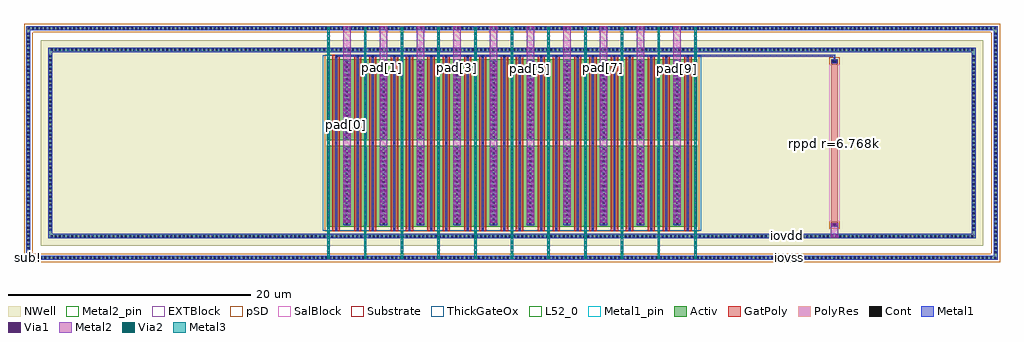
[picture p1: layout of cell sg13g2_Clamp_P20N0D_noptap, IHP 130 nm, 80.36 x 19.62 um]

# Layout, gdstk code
import gdstk
lib = gdstk.Library(unit=1e-6, precision=5e-09)
def R(c, l, rs):  # rectangles x0, y0, x1, y1
    for r in rs: c.add(gdstk.rectangle(r[:2], r[2:], *l))
def A(c, l, x, y, w, h, nx, ny, dx, dy):  # array of equal rectangles
    R(c, l, [(x+i*dx, y+j*dy, x+i*dx+w, y+j*dy+h) for i in range(nx) for j in range(ny)])
def P(c, l, *ps):  # polygons
    for p in ps: c.add(gdstk.Polygon(p, *l))
Activ = (1, 0)
GatPoly = (5, 0)
Cont = (6, 0)
Metal1 = (8, 0)
Metal1_pin = (8, 2)
Metal2 = (10, 0)
Metal2_pin = (10, 2)
pSD = (14, 0)
Via1 = (19, 0)
SalBlock = (28, 0)
Via2 = (29, 0)
Metal3 = (30, 0)
NWell = (31, 0)
Substrate = (40, 0)
ThickGateOx = (44, 0)
L52_0 = (52, 0)
EXTBlock = (111, 0)
PolyRes = (128, 0)

sg13g2_clamp_p20n0d_nopt = lib.new_cell('sg13g2_Clamp_P20N0D_noptap')
R(sg13g2_clamp_p20n0d_nopt, Activ, [(24.75,2.75,55.25,9.41), (24.75,9.85,55.25,16.51)])
P(sg13g2_clamp_p20n0d_nopt, Activ, [(1.8,1.8),(1.8,17.12),(2.14,17.12),(2.14,2.14),(77.86,2.14),(77.86,17.12),(1.8,17.12),(1.8,17.46),(78.2,17.46),(78.2,1.8)],
  [(0,0),(0,18.92),(0.34,18.92),(0.34,0.34),(79.66,0.34),(79.66,18.92),(0,18.92),(0,19.26),(80,19.26),(80,0)])
R(sg13g2_clamp_p20n0d_nopt, GatPoly, [(25.22,2.38,25.82,16.88), (27,2.38,27.6,16.88), (28.24,2.38,28.84,16.88), (30.02,2.38,30.62,16.88), (31.26,2.38,31.86,16.88), (33.04,2.38,33.64,16.88), (34.28,2.38,34.88,16.88), (36.06,2.38,36.66,16.88), (37.3,2.38,37.9,16.88), (39.08,2.38,39.68,16.88), (40.32,2.38,40.92,16.88), (42.1,2.38,42.7,16.88), (43.34,2.38,43.94,16.88), (45.12,2.38,45.72,16.88), (46.36,2.38,46.96,16.88), (48.14,2.38,48.74,16.88), (49.38,2.38,49.98,16.88), (51.16,2.38,51.76,16.88), (52.4,2.38,53,16.88), (54.18,2.38,54.78,16.88), (66.305,2.75,66.805,2.98), (66.305,2.98,66.805,3.18), (66.305,16.08,66.805,16.28), (66.305,16.28,66.805,16.51)])
A(sg13g2_clamp_p20n0d_nopt, Cont, 0.14, 0.09, 0.16, 0.16, 235, 2, 0.34, 18.92)
A(sg13g2_clamp_p20n0d_nopt, Cont, 0.09, 0.54, 0.16, 0.16, 1, 54, 0, 0.34)
A(sg13g2_clamp_p20n0d_nopt, Cont, 79.75, 0.54, 0.16, 0.16, 1, 54, 0, 0.34)
A(sg13g2_clamp_p20n0d_nopt, Cont, 2.01, 1.89, 0.16, 0.16, 224, 2, 0.34, 15.32)
A(sg13g2_clamp_p20n0d_nopt, Cont, 1.89, 2.41, 0.16, 0.16, 1, 43, 0, 0.34)
A(sg13g2_clamp_p20n0d_nopt, Cont, 77.95, 2.41, 0.16, 0.16, 1, 43, 0, 0.34)
A(sg13g2_clamp_p20n0d_nopt, Cont, 25.44, 2.45, 0.16, 0.16, 1, 3, 0, 7.1)
A(sg13g2_clamp_p20n0d_nopt, Cont, 27.22, 2.45, 0.16, 0.16, 1, 3, 0, 7.1)
A(sg13g2_clamp_p20n0d_nopt, Cont, 28.46, 2.45, 0.16, 0.16, 1, 3, 0, 7.1)
A(sg13g2_clamp_p20n0d_nopt, Cont, 30.24, 2.45, 0.16, 0.16, 1, 3, 0, 7.1)
A(sg13g2_clamp_p20n0d_nopt, Cont, 31.48, 2.45, 0.16, 0.16, 1, 3, 0, 7.1)
A(sg13g2_clamp_p20n0d_nopt, Cont, 33.26, 2.45, 0.16, 0.16, 1, 3, 0, 7.1)
A(sg13g2_clamp_p20n0d_nopt, Cont, 34.5, 2.45, 0.16, 0.16, 1, 3, 0, 7.1)
A(sg13g2_clamp_p20n0d_nopt, Cont, 36.28, 2.45, 0.16, 0.16, 1, 3, 0, 7.1)
A(sg13g2_clamp_p20n0d_nopt, Cont, 37.52, 2.45, 0.16, 0.16, 1, 3, 0, 7.1)
A(sg13g2_clamp_p20n0d_nopt, Cont, 39.3, 2.45, 0.16, 0.16, 1, 3, 0, 7.1)
A(sg13g2_clamp_p20n0d_nopt, Cont, 40.54, 2.45, 0.16, 0.16, 1, 3, 0, 7.1)
A(sg13g2_clamp_p20n0d_nopt, Cont, 42.32, 2.45, 0.16, 0.16, 1, 3, 0, 7.1)
A(sg13g2_clamp_p20n0d_nopt, Cont, 43.56, 2.45, 0.16, 0.16, 1, 3, 0, 7.1)
A(sg13g2_clamp_p20n0d_nopt, Cont, 45.34, 2.45, 0.16, 0.16, 1, 3, 0, 7.1)
A(sg13g2_clamp_p20n0d_nopt, Cont, 46.58, 2.45, 0.16, 0.16, 1, 3, 0, 7.1)
A(sg13g2_clamp_p20n0d_nopt, Cont, 48.36, 2.45, 0.16, 0.16, 1, 3, 0, 7.1)
A(sg13g2_clamp_p20n0d_nopt, Cont, 49.6, 2.45, 0.16, 0.16, 1, 3, 0, 7.1)
A(sg13g2_clamp_p20n0d_nopt, Cont, 51.38, 2.45, 0.16, 0.16, 1, 3, 0, 7.1)
A(sg13g2_clamp_p20n0d_nopt, Cont, 52.62, 2.45, 0.16, 0.16, 1, 3, 0, 7.1)
A(sg13g2_clamp_p20n0d_nopt, Cont, 54.4, 2.45, 0.16, 0.16, 1, 3, 0, 7.1)
A(sg13g2_clamp_p20n0d_nopt, Cont, 24.82, 2.94, 0.16, 0.16, 21, 19, 1.51, 0.34)
A(sg13g2_clamp_p20n0d_nopt, Cont, 24.82, 10.04, 0.16, 0.16, 21, 19, 1.51, 0.34)
R(sg13g2_clamp_p20n0d_nopt, Cont, [(66.375,2.82,66.735,2.98), (66.375,16.28,66.735,16.44)])
A(sg13g2_clamp_p20n0d_nopt, Metal1, 24.795, 1.8, 0.21, 0.34, 11, 2, 3.02, 15.32)
A(sg13g2_clamp_p20n0d_nopt, Metal1, 24.795, 2.86, 0.21, 6.44, 11, 2, 3.02, 7.1)
A(sg13g2_clamp_p20n0d_nopt, Metal1, 26.1, 2.86, 0.62, 6.44, 10, 2, 3.02, 7.1)
R(sg13g2_clamp_p20n0d_nopt, Metal1, [(66.245,1.825,66.865,2.115), (66.245,2.75,66.865,3.05), (66.325,2.75,66.785,3.05), (66.325,16.21,66.785,16.51)])
P(sg13g2_clamp_p20n0d_nopt, Metal1, [(1.8,1.8),(1.8,17.12),(2.14,17.12),(2.14,2.14),(77.86,2.14),(77.86,17.12),(1.8,17.12),(1.8,17.46),(78.2,17.46),(78.2,1.8)],
  [(0,0),(0,18.92),(0.34,18.92),(0.34,0.34),(79.66,0.34),(79.66,18.92),(0,18.92),(0,19.26),(80,19.26),(80,0)],
  [(25.44,2.37),(25.44,16.89),(66.635,16.89),(66.635,16.2),(66.475,16.2),(66.475,16.73),(54.56,16.73),(54.56,2.37),(54.4,2.37),(54.4,16.73),(52.78,16.73),(52.78,2.37),(52.62,2.37),(52.62,16.73),(51.54,16.73),(51.54,2.37),(51.38,2.37),(51.38,16.73),(49.76,16.73),(49.76,2.37),(49.6,2.37),(49.6,16.73),(48.52,16.73),(48.52,2.37),(48.36,2.37),(48.36,16.73),(46.74,16.73),(46.74,2.37),(46.58,2.37),(46.58,16.73),(45.5,16.73),(45.5,2.37),(45.34,2.37),(45.34,16.73),(43.72,16.73),(43.72,2.37),(43.56,2.37),(43.56,16.73),(42.48,16.73),(42.48,2.37),(42.32,2.37),(42.32,16.73),(40.7,16.73),(40.7,2.37),(40.54,2.37),(40.54,16.73),(39.46,16.73),(39.46,2.37),(39.3,2.37),(39.3,16.73),(37.68,16.73),(37.68,2.37),(37.52,2.37),(37.52,16.73),(36.44,16.73),(36.44,2.37),(36.28,2.37),(36.28,16.73),(34.66,16.73),(34.66,2.37),(34.5,2.37),(34.5,16.73),(33.42,16.73),(33.42,2.37),(33.26,2.37),(33.26,16.73),(31.64,16.73),(31.64,2.37),(31.48,2.37),(31.48,16.73),(30.4,16.73),(30.4,2.37),(30.24,2.37),(30.24,16.73),(28.62,16.73),(28.62,2.37),(28.46,2.37),(28.46,16.73),(27.38,16.73),(27.38,2.37),(27.22,2.37),(27.22,16.73),(25.6,16.73),(25.6,2.37)])
R(sg13g2_clamp_p20n0d_nopt, Metal1_pin, [(62.52,0.09,63.085,0.29), (62.44,1.89,62.95,2.08), (66.325,2.75,66.785,3.05), (66.325,16.21,66.785,16.51)])
A(sg13g2_clamp_p20n0d_nopt, Metal2, 24.8, 0, 0.2, 19.26, 11, 1, 3.02, 0)
A(sg13g2_clamp_p20n0d_nopt, Metal2, 26.105, 3.065, 0.61, 16.195, 10, 1, 3.02, 0)
R(sg13g2_clamp_p20n0d_nopt, Metal2, [(66.25,1.825,66.86,3.045)])
A(sg13g2_clamp_p20n0d_nopt, Metal2_pin, 26.105, 3.065, 0.61, 16.195, 10, 1, 3.02, 0)
R(sg13g2_clamp_p20n0d_nopt, pSD, [(24.57,2.35,55.43,16.91), (66.125,2.57,66.985,3.18), (66.125,3.18,66.985,16.08), (66.125,16.08,66.985,16.69)])
P(sg13g2_clamp_p20n0d_nopt, pSD, [(-0.18,-0.18),(-0.18,18.74),(0.52,18.74),(0.52,0.52),(79.48,0.52),(79.48,18.74),(-0.18,18.74),(-0.18,19.44),(80.18,19.44),(80.18,-0.18)])
A(sg13g2_clamp_p20n0d_nopt, Via1, 24.805, 1.875, 0.19, 0.19, 11, 2, 3.02, 15.32)
A(sg13g2_clamp_p20n0d_nopt, Via1, 24.805, 3.115, 0.19, 0.19, 1, 15, 0, 0.41)
A(sg13g2_clamp_p20n0d_nopt, Via1, 26.11, 3.115, 0.19, 0.19, 1, 15, 0, 0.41)
A(sg13g2_clamp_p20n0d_nopt, Via1, 26.52, 3.115, 0.19, 0.19, 3, 15, 1.305, 0.41)
A(sg13g2_clamp_p20n0d_nopt, Via1, 29.54, 3.115, 0.19, 0.19, 3, 15, 1.305, 0.41)
A(sg13g2_clamp_p20n0d_nopt, Via1, 32.56, 3.115, 0.19, 0.19, 3, 15, 1.305, 0.41)
A(sg13g2_clamp_p20n0d_nopt, Via1, 35.58, 3.115, 0.19, 0.19, 3, 15, 1.305, 0.41)
A(sg13g2_clamp_p20n0d_nopt, Via1, 38.6, 3.115, 0.19, 0.19, 3, 15, 1.305, 0.41)
A(sg13g2_clamp_p20n0d_nopt, Via1, 41.62, 3.115, 0.19, 0.19, 3, 15, 1.305, 0.41)
A(sg13g2_clamp_p20n0d_nopt, Via1, 44.64, 3.115, 0.19, 0.19, 3, 15, 1.305, 0.41)
A(sg13g2_clamp_p20n0d_nopt, Via1, 47.66, 3.115, 0.19, 0.19, 3, 15, 1.305, 0.41)
A(sg13g2_clamp_p20n0d_nopt, Via1, 50.68, 3.115, 0.19, 0.19, 3, 15, 1.305, 0.41)
A(sg13g2_clamp_p20n0d_nopt, Via1, 53.7, 3.115, 0.19, 0.19, 1, 15, 0, 0.41)
A(sg13g2_clamp_p20n0d_nopt, Via1, 55.005, 3.115, 0.19, 0.19, 1, 15, 0, 0.41)
A(sg13g2_clamp_p20n0d_nopt, Via1, 24.805, 10.215, 0.19, 0.19, 1, 15, 0, 0.41)
A(sg13g2_clamp_p20n0d_nopt, Via1, 26.11, 10.215, 0.19, 0.19, 1, 15, 0, 0.41)
A(sg13g2_clamp_p20n0d_nopt, Via1, 26.52, 10.215, 0.19, 0.19, 3, 15, 1.305, 0.41)
A(sg13g2_clamp_p20n0d_nopt, Via1, 29.54, 10.215, 0.19, 0.19, 3, 15, 1.305, 0.41)
A(sg13g2_clamp_p20n0d_nopt, Via1, 32.56, 10.215, 0.19, 0.19, 3, 15, 1.305, 0.41)
A(sg13g2_clamp_p20n0d_nopt, Via1, 35.58, 10.215, 0.19, 0.19, 3, 15, 1.305, 0.41)
A(sg13g2_clamp_p20n0d_nopt, Via1, 38.6, 10.215, 0.19, 0.19, 3, 15, 1.305, 0.41)
A(sg13g2_clamp_p20n0d_nopt, Via1, 41.62, 10.215, 0.19, 0.19, 3, 15, 1.305, 0.41)
A(sg13g2_clamp_p20n0d_nopt, Via1, 44.64, 10.215, 0.19, 0.19, 3, 15, 1.305, 0.41)
A(sg13g2_clamp_p20n0d_nopt, Via1, 47.66, 10.215, 0.19, 0.19, 3, 15, 1.305, 0.41)
A(sg13g2_clamp_p20n0d_nopt, Via1, 50.68, 10.215, 0.19, 0.19, 3, 15, 1.305, 0.41)
A(sg13g2_clamp_p20n0d_nopt, Via1, 53.7, 10.215, 0.19, 0.19, 1, 15, 0, 0.41)
A(sg13g2_clamp_p20n0d_nopt, Via1, 55.005, 10.215, 0.19, 0.19, 1, 15, 0, 0.41)
R(sg13g2_clamp_p20n0d_nopt, Via1, [(66.255,1.875,66.445,2.065), (66.665,1.875,66.855,2.065), (66.255,2.805,66.445,2.995), (66.665,2.805,66.855,2.995)])
R(sg13g2_clamp_p20n0d_nopt, SalBlock, [(66.105,3.18,67.005,16.08)])
A(sg13g2_clamp_p20n0d_nopt, Via2, 24.805, 0.105, 0.19, 0.19, 11, 47, 3.02, 0.41)
A(sg13g2_clamp_p20n0d_nopt, Metal3, 24.8, 0.055, 0.2, 19.15, 11, 1, 3.02, 0)
R(sg13g2_clamp_p20n0d_nopt, NWell, [(1.18,1.18,78.82,18.08), (24.13,2.13,55.87,17.13)])
P(sg13g2_clamp_p20n0d_nopt, Substrate, [(0,0),(0,18.92),(0.34,18.92),(0.34,0.34),(79.66,0.34),(79.66,18.92),(0,18.92),(0,19.26),(80,19.26),(80,0)])
R(sg13g2_clamp_p20n0d_nopt, ThickGateOx, [(24.41,2.41,55.59,16.85)])
R(sg13g2_clamp_p20n0d_nopt, L52_0, [(66.305,3.18,66.805,16.08)])
R(sg13g2_clamp_p20n0d_nopt, EXTBlock, [(66.125,2.57,66.985,3.18), (66.105,3.18,67.005,16.08), (66.125,16.08,66.985,16.69)])
R(sg13g2_clamp_p20n0d_nopt, PolyRes, [(66.305,3.18,66.805,16.08)])
sg13g2_clamp_p20n0d_nopt.add(gdstk.Label('rppd r=6.768k', (66.555,9.63), layer=63, texttype=0))
sg13g2_clamp_p20n0d_nopt.add(gdstk.Label('sub!', (0.17,0.17), layer=63, texttype=0))
sg13g2_clamp_p20n0d_nopt.add(gdstk.Label('iovss', (62.86,0.195), layer=8, texttype=25))
sg13g2_clamp_p20n0d_nopt.add(gdstk.Label('iovdd', (62.645,1.98), layer=8, texttype=25))
sg13g2_clamp_p20n0d_nopt.add(gdstk.Label('pad[0]', (26.41,11.165), layer=10, texttype=25))
sg13g2_clamp_p20n0d_nopt.add(gdstk.Label('pad[1]', (29.375,15.82), layer=10, texttype=25))
sg13g2_clamp_p20n0d_nopt.add(gdstk.Label('pad[2]', (32.415,15.82), layer=10, texttype=25))
sg13g2_clamp_p20n0d_nopt.add(gdstk.Label('pad[3]', (35.475,15.82), layer=10, texttype=25))
sg13g2_clamp_p20n0d_nopt.add(gdstk.Label('pad[4]', (38.495,15.84), layer=10, texttype=25))
sg13g2_clamp_p20n0d_nopt.add(gdstk.Label('pad[5]', (41.495,15.8), layer=10, texttype=25))
sg13g2_clamp_p20n0d_nopt.add(gdstk.Label('pad[6]', (44.555,15.82), layer=10, texttype=25))
sg13g2_clamp_p20n0d_nopt.add(gdstk.Label('pad[7]', (47.535,15.88), layer=10, texttype=25))
sg13g2_clamp_p20n0d_nopt.add(gdstk.Label('pad[8]', (50.575,15.8), layer=10, texttype=25))
sg13g2_clamp_p20n0d_nopt.add(gdstk.Label('pad[9]', (53.595,15.765), layer=10, texttype=25))
sg13g2_clamp_p20n0d_nopt.add(gdstk.Label('rppd', (66.555,9.63), layer=52, texttype=0))

lib.write_gds('sg13g2_Clamp_P20N0D_noptap.gds')
